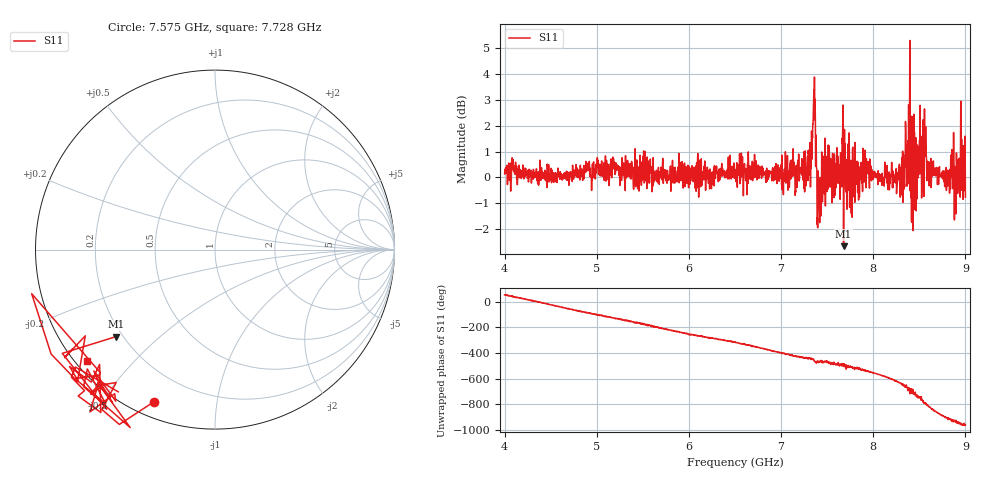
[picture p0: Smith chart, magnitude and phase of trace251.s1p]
! Created with skrf 1.8.0 (http://scikit-rf.org).
# Hz S RI R 50.0
!freq ReS11 ImS11
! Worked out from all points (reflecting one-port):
!   1601 points, 4 GHz to 9 GHz, reference 50 ohm
!   lowest |S11| = -2.7 dB at 7.678 GHz (marker M1), VSWR 6.57, Z = 8.66 - j18.3 ohm
!   phase of S11 starts at 52 deg and turns -1012 deg over the sweep
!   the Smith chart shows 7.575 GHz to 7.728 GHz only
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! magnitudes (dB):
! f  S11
! 4 GHz  0.1
! 4.625 GHz  -0.1
! 5.25 GHz  -0.3
! 5.875 GHz  0.0
! 6.5 GHz  0.3
! 7.125 GHz  0.0
! 7.294 GHz  1.0
! 7.356 GHz  3.4
! 7.412 GHz  -1.1
! 7.503 GHz  0.5
! 7.578 GHz  0.9
! 7.634 GHz  0.3
! 7.65 GHz  0.6
! 7.678 GHz  -2.7
! 7.688 GHz  1.9
! 7.703 GHz  -0.6
! 7.75 GHz  -0.4
! 7.769 GHz  -0.6
! 7.8 GHz  -1.0
! 7.928 GHz  0.6
! 8.316 GHz  -0.3
! 8.375 GHz  1.4
! 8.434 GHz  0.8
! 8.556 GHz  2.7
! 8.606 GHz  -0.3
! 8.812 GHz  -0.3
! 8.972 GHz  -0.2
! 9 GHz  -0.8
